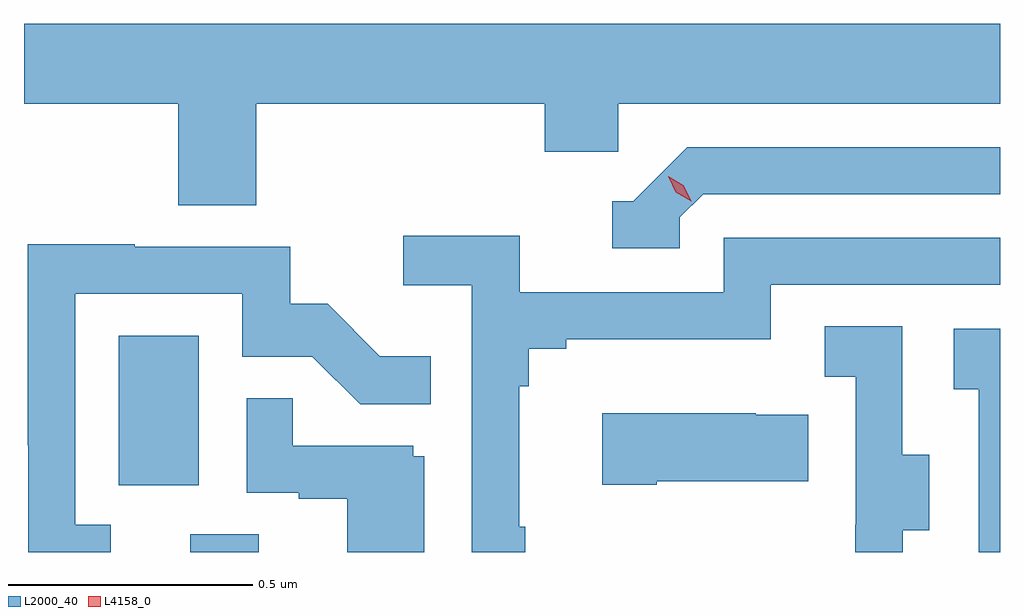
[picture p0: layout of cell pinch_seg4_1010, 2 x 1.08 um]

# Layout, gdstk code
import gdstk
lib = gdstk.Library(unit=1e-6, precision=1e-09)
def R(c, l, rs):  # rectangles x0, y0, x1, y1
    for r in rs: c.add(gdstk.rectangle(r[:2], r[2:], *l))
def P(c, l, *ps):  # polygons
    for p in ps: c.add(gdstk.Polygon(p, *l))
L2000_40 = (2000, 40)
L4158_0 = (4158, 0)

pinch_seg4_1010 = lib.new_cell('pinch_seg4_1010')
R(pinch_seg4_1010, L2000_40, [(831.023,777.253,831.163,777.29), (830.876,777.39,831.04,777.697)])
P(pinch_seg4_1010, L2000_40, [(831.158,778.172),(831.749,778.172),(831.749,778.074),(831.9,778.074),(831.9,778.172),(832.682,778.172),(832.682,778.336),(830.682,778.336),(830.682,778.172),(830.998,778.172),(830.998,777.964),(831.158,777.964)],
  [(832.026,777.939),(832.074,777.987),(832.682,777.987),(832.682,778.083),(832.041,778.083),(831.93,777.972),(831.887,777.972),(831.887,777.876),(832.026,777.876)],
  [(831.709,777.305),(831.697,777.305),(831.697,777.593),(831.716,777.593),(831.716,777.67),(831.793,777.67),(831.793,777.689),(832.212,777.689),(832.212,777.801),(832.682,777.801),(832.682,777.897),(832.116,777.897),(832.116,777.786),(831.698,777.786),(831.698,777.902),(831.459,777.902),(831.459,777.8),(831.6,777.8),(831.6,777.253),(831.709,777.253)],
  [(830.86,777.309),(830.787,777.309),(830.787,777.783),(831.129,777.783),(831.129,777.654),(831.273,777.654),(831.371,777.556),(831.515,777.556),(831.515,777.655),(831.411,777.655),(831.304,777.762),(831.228,777.762),(831.228,777.879),(830.909,777.879),(830.909,777.884),(830.69,777.884),(830.69,777.472),(830.691,777.472),(830.691,777.253),(830.86,777.253)],
  [(832.483,777.298),(832.537,777.298),(832.537,777.453),(832.482,777.453),(832.482,777.716),(832.323,777.716),(832.323,777.613),(832.386,777.613),(832.386,777.309),(832.385,777.309),(832.385,777.253),(832.483,777.253)],
  [(832.682,777.711),(832.587,777.711),(832.587,777.587),(832.638,777.587),(832.638,777.253),(832.682,777.253)],
  [(831.502,777.45),(831.48,777.45),(831.48,777.471),(831.233,777.471),(831.233,777.569),(831.138,777.569),(831.138,777.375),(831.245,777.375),(831.245,777.363),(831.344,777.363),(831.344,777.253),(831.502,777.253)],
  [(831.979,777.398),(832.289,777.398),(832.289,777.535),(832.181,777.535),(832.181,777.538),(831.867,777.538),(831.867,777.391),(831.979,777.391)])
P(pinch_seg4_1010, L4158_0, [(832.049,777.972),(832.018,777.991),(832.002,778.024),(832.002,778.024),(832.002,778.024),(832.033,778.005),(832.049,777.973),(832.049,777.972)])

lib.write_gds('pinch_seg4_1010.gds')
